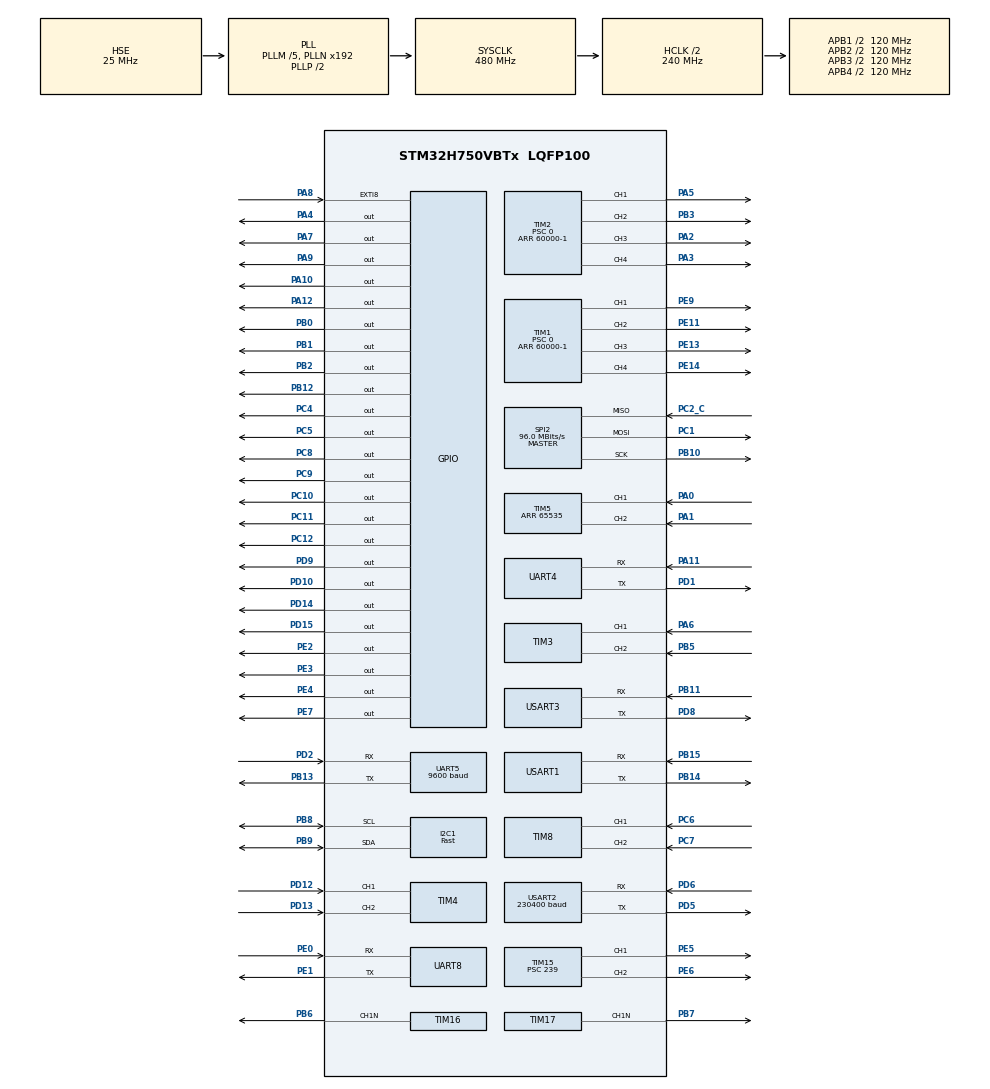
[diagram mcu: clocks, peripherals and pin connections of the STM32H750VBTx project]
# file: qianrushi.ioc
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CORTEX_M7.default_mode_Activation=1
Dma.Request0=USART3_RX
Dma.Request1=USART3_TX
Dma.Request2=UART4_TX
Dma.Request3=USART2_RX
Dma.Request4=UART8_RX
Dma.UART4_TX.2.Direction=DMA_MEMORY_TO_PERIPH
Dma.UART4_TX.2.EventEnable=DISABLE
Dma.UART4_TX.2.FIFOMode=DMA_FIFOMODE_DISABLE
Dma.UART4_TX.2.Instance=DMA1_Stream2
Dma.UART4_TX.2.MemDataAlignment=DMA_MDATAALIGN_BYTE
Dma.UART4_TX.2.MemInc=DMA_MINC_ENABLE
Dma.UART4_TX.2.Mode=DMA_NORMAL
Dma.UART4_TX.2.PeriphDataAlignment=DMA_PDATAALIGN_BYTE
Dma.UART4_TX.2.PeriphInc=DMA_PINC_DISABLE
Dma.UART4_TX.2.Polarity=HAL_DMAMUX_REQ_GEN_RISING
Dma.UART4_TX.2.Priority=DMA_PRIORITY_MEDIUM
Dma.UART4_TX.2.RequestNumber=1
Dma.UART4_TX.2.SignalID=NONE
Dma.UART4_TX.2.SyncEnable=DISABLE
Dma.UART4_TX.2.SyncPolarity=HAL_DMAMUX_SYNC_NO_EVENT
Dma.UART4_TX.2.SyncRequestNumber=1
Dma.UART4_TX.2.SyncSignalID=NONE
Dma.UART8_RX.4.Direction=DMA_PERIPH_TO_MEMORY
Dma.UART8_RX.4.EventEnable=DISABLE
Dma.UART8_RX.4.FIFOMode=DMA_FIFOMODE_DISABLE
Dma.UART8_RX.4.Instance=DMA1_Stream0
Dma.UART8_RX.4.MemDataAlignment=DMA_MDATAALIGN_BYTE
Dma.UART8_RX.4.MemInc=DMA_MINC_ENABLE
Dma.UART8_RX.4.Mode=DMA_CIRCULAR
Dma.UART8_RX.4.PeriphDataAlignment=DMA_PDATAALIGN_BYTE
Dma.UART8_RX.4.PeriphInc=DMA_PINC_DISABLE
Dma.UART8_RX.4.Polarity=HAL_DMAMUX_REQ_GEN_RISING
Dma.UART8_RX.4.Priority=DMA_PRIORITY_LOW
Dma.UART8_RX.4.RequestNumber=1
Dma.UART8_RX.4.SignalID=NONE
Dma.UART8_RX.4.SyncEnable=DISABLE
Dma.UART8_RX.4.SyncPolarity=HAL_DMAMUX_SYNC_NO_EVENT
Dma.UART8_RX.4.SyncRequestNumber=1
Dma.UART8_RX.4.SyncSignalID=NONE
Dma.USART2_RX.3.Direction=DMA_PERIPH_TO_MEMORY
Dma.USART2_RX.3.EventEnable=DISABLE
Dma.USART2_RX.3.FIFOMode=DMA_FIFOMODE_DISABLE
Dma.USART2_RX.3.Instance=DMA1_Stream3
Dma.USART2_RX.3.MemDataAlignment=DMA_MDATAALIGN_BYTE
Dma.USART2_RX.3.MemInc=DMA_MINC_ENABLE
Dma.USART2_RX.3.Mode=DMA_CIRCULAR
Dma.USART2_RX.3.PeriphDataAlignment=DMA_PDATAALIGN_BYTE
Dma.USART2_RX.3.PeriphInc=DMA_PINC_DISABLE
Dma.USART2_RX.3.Polarity=HAL_DMAMUX_REQ_GEN_RISING
Dma.USART2_RX.3.Priority=DMA_PRIORITY_LOW
Dma.USART2_RX.3.RequestNumber=1
Dma.USART2_RX.3.SignalID=NONE
Dma.USART2_RX.3.SyncEnable=DISABLE
Dma.USART2_RX.3.SyncPolarity=HAL_DMAMUX_SYNC_NO_EVENT
Dma.USART2_RX.3.SyncRequestNumber=1
Dma.USART2_RX.3.SyncSignalID=NONE
Dma.USART3_RX.0.Direction=DMA_PERIPH_TO_MEMORY
Dma.USART3_RX.0.EventEnable=DISABLE
Dma.USART3_RX.0.FIFOMode=DMA_FIFOMODE_DISABLE
Dma.USART3_RX.0.Instance=DMA1_Stream4
Dma.USART3_RX.0.MemDataAlignment=DMA_MDATAALIGN_BYTE
Dma.USART3_RX.0.MemInc=DMA_MINC_ENABLE
Dma.USART3_RX.0.Mode=DMA_CIRCULAR
Dma.USART3_RX.0.PeriphDataAlignment=DMA_PDATAALIGN_BYTE
Dma.USART3_RX.0.PeriphInc=DMA_PINC_DISABLE
Dma.USART3_RX.0.Polarity=HAL_DMAMUX_REQ_GEN_RISING
Dma.USART3_RX.0.Priority=DMA_PRIORITY_LOW
Dma.USART3_RX.0.RequestNumber=1
Dma.USART3_RX.0.SignalID=NONE
Dma.USART3_RX.0.SyncEnable=DISABLE
Dma.USART3_RX.0.SyncPolarity=HAL_DMAMUX_SYNC_NO_EVENT
Dma.USART3_RX.0.SyncRequestNumber=1
Dma.USART3_RX.0.SyncSignalID=NONE
Dma.USART3_TX.1.Direction=DMA_MEMORY_TO_PERIPH
Dma.USART3_TX.1.EventEnable=DISABLE
Dma.USART3_TX.1.FIFOMode=DMA_FIFOMODE_DISABLE
Dma.USART3_TX.1.Instance=DMA1_Stream5
Dma.USART3_TX.1.MemDataAlignment=DMA_MDATAALIGN_BYTE
Dma.USART3_TX.1.MemInc=DMA_MINC_ENABLE
Dma.USART3_TX.1.Mode=DMA_NORMAL
Dma.USART3_TX.1.PeriphDataAlignment=DMA_PDATAALIGN_BYTE
Dma.USART3_TX.1.PeriphInc=DMA_PINC_DISABLE
Dma.USART3_TX.1.Polarity=HAL_DMAMUX_REQ_GEN_RISING
Dma.USART3_TX.1.Priority=DMA_PRIORITY_LOW
Dma.USART3_TX.1.RequestNumber=1
Dma.USART3_TX.1.SignalID=NONE
Dma.USART3_TX.1.SyncEnable=DISABLE
Dma.USART3_TX.1.SyncPolarity=HAL_DMAMUX_SYNC_NO_EVENT
Dma.USART3_TX.1.SyncRequestNumber=1
Dma.USART3_TX.1.SyncSignalID=NONE
FREERTOS.BinarySemaphores01=Sem_BtRx,Dynamic,NULL,Available;Sem_SensorRx,Dynamic,NULL,Available
FREERTOS.Mutexes01=Mutex_Stepper,Dynamic,NULL,Available
FREERTOS.Queues01=ChassisQueue,4,12,1,Dynamic,NULL,NULL;StepperQueue,4,4,1,Dynamic,NULL,NULL
FREERTOS.Tasks01=CommTask,32,512,StartCommTask,Default,NULL,Dynamic,NULL,NULL;ChassisTask,40,256,StartChassisTask,Default,NULL,Dynamic,NULL,NULL;StepperTask,40,256,StartStepperTask,Default,NULL,Dynamic,NULL,NULL;AutoClimbTask,16,512,StartAutoClimbTask,Default,NULL,Dynamic,NULL,NULL;SensorTask,16,512,StartSensorTask,Default,NULL,Dynamic,NULL,NULL
I2C1.I2C_Speed_Mode=I2C_Fast
I2C1.Timing=0x00B03FDB
Mcu.Family=STM32H7
Mcu.Name=STM32H750VBTx
Mcu.Package=LQFP100
NVIC.DMA1_Stream0_IRQn=true\:5\:0\:false\:false\:true\:true\:false\:true\:true
NVIC.DMA1_Stream2_IRQn=true\:5\:0\:false\:false\:true\:true\:false\:true\:true
NVIC.DMA1_Stream3_IRQn=true\:5\:0\:false\:false\:true\:true\:false\:true\:true
NVIC.DMA1_Stream4_IRQn=true\:5\:0\:false\:false\:true\:true\:false\:true\:true
NVIC.DMA1_Stream5_IRQn=true\:5\:0\:true\:false\:true\:false\:false\:true\:true
NVIC.EXTI9_5_IRQn=true\:5\:0\:false\:false\:true\:true\:true\:true\:true
NVIC.PriorityGroup=NVIC_PRIORITYGROUP_4
NVIC.TIM6_DAC_IRQn=true\:5\:0\:false\:false\:true\:true\:true\:true\:true
NVIC.TIM7_IRQn=true\:15\:0\:true\:false\:true\:false\:false\:true\:true
NVIC.TimeBase=TIM7_IRQn
NVIC.TimeBaseIP=TIM7
NVIC.UART4_IRQn=true\:5\:0\:false\:false\:true\:true\:true\:true\:true
NVIC.UART5_IRQn=true\:5\:0\:false\:false\:true\:true\:true\:true\:true
NVIC.UART8_IRQn=true\:5\:0\:false\:false\:true\:true\:true\:true\:true
NVIC.USART2_IRQn=true\:5\:0\:false\:false\:true\:true\:true\:true\:true
NVIC.USART3_IRQn=true\:5\:0\:false\:false\:true\:true\:true\:true\:true
PA0.Signal=S_TIM5_CH1
PA1.Signal=S_TIM5_CH2
PA10.Signal=GPIO_Output
PA11.Mode=Asynchronous
PA11.Signal=UART4_RX
PA12.Signal=GPIO_Output
PA13\ (JTMS/SWDIO).Mode=Serial_Wire
PA13\ (JTMS/SWDIO).Signal=DEBUG_JTMS-SWDIO
PA14\ (JTCK/SWCLK).Mode=Serial_Wire
PA14\ (JTCK/SWCLK).Signal=DEBUG_JTCK-SWCLK
PA2.Signal=S_TIM2_CH3
PA3.Signal=S_TIM2_CH4
PA4.Signal=GPIO_Output
PA5.Signal=S_TIM2_CH1_ETR
PA6.Signal=S_TIM3_CH1
PA7.Signal=GPIO_Output
PA8.GPIO_ModeDefaultEXTI=GPIO_MODE_IT_RISING
PA8.Signal=GPXTI8
PA9.Signal=GPIO_Output
PB0.Signal=GPIO_Output
PB1.Signal=GPIO_Output
PB10.Mode=Full_Duplex_Master
PB10.Signal=SPI2_SCK
PB11.Mode=Asynchronous
PB11.Signal=USART3_RX
PB12.PinState=GPIO_PIN_SET
PB12.Signal=GPIO_Output
PB13.Mode=Asynchronous
PB13.Signal=UART5_TX
PB14.Mode=Asynchronous
PB14.Signal=USART1_TX
PB15.Mode=Asynchronous
PB15.Signal=USART1_RX
PB2.Signal=GPIO_Output
PB3\ (JTDO/TRACESWO).Signal=S_TIM2_CH2
PB5.Signal=S_TIM3_CH2
PB6.Mode=PWM Generation1 CH1N
PB6.Signal=TIM16_CH1N
PB7.Mode=PWM Generation1 CH1N
PB7.Signal=TIM17_CH1N
PB8.GPIO_Pu=GPIO_PULLUP
PB8.Mode=I2C
PB8.Signal=I2C1_SCL
PB9.GPIO_Pu=GPIO_PULLUP
PB9.Mode=I2C
PB9.Signal=I2C1_SDA
PC1.Mode=Full_Duplex_Master
PC1.Signal=SPI2_MOSI
PC10.Signal=GPIO_Output
PC11.Signal=GPIO_Output
PC12.Signal=GPIO_Output
PC2_C.Mode=Full_Duplex_Master
PC2_C.Signal=SPI2_MISO
PC4.Signal=GPIO_Output
PC5.Signal=GPIO_Output
PC6.Signal=S_TIM8_CH1
PC7.Signal=S_TIM8_CH2
PC8.Signal=GPIO_Output
PC9.Signal=GPIO_Output
PD1.Mode=Asynchronous
PD1.Signal=UART4_TX
PD10.GPIO_PuPd=GPIO_PULLUP
PD10.PinState=GPIO_PIN_SET
PD10.Signal=GPIO_Output
PD12.Signal=S_TIM4_CH1
PD13.Signal=S_TIM4_CH2
PD14.Signal=GPIO_Output
PD15.Signal=GPIO_Output
PD2.Mode=Asynchronous
PD2.Signal=UART5_RX
PD5.Mode=Asynchronous
PD5.Signal=USART2_TX
PD6.Mode=Asynchronous
PD6.Signal=USART2_RX
PD8.Mode=Asynchronous
PD8.Signal=USART3_TX
PD9.Signal=GPIO_Output
PE0.Mode=Asynchronous
PE0.Signal=UART8_RX
PE1.Mode=Asynchronous
PE1.Signal=UART8_TX
PE11.Signal=S_TIM1_CH2
PE13.Signal=S_TIM1_CH3
PE14.Signal=S_TIM1_CH4
PE2.Signal=GPIO_Output
PE3.Signal=GPIO_Output
PE4.GPIO_PuPd=GPIO_PULLDOWN
PE4.Signal=GPIO_Output
PE5.Signal=S_TIM15_CH1
PE6.Signal=S_TIM15_CH2
PE7.Signal=GPIO_Output
PE9.Signal=S_TIM1_CH1
PH0-OSC_IN\ (PH0).Mode=HSE-External-Oscillator
PH0-OSC_IN\ (PH0).Signal=RCC_OSC_IN
PH1-OSC_OUT\ (PH1).Mode=HSE-External-Oscillator
PH1-OSC_OUT\ (PH1).Signal=RCC_OSC_OUT
ProjectManager.HeapSize=0x200
ProjectManager.StackSize=0x400
ProjectManager.TargetToolchain=MDK-ARM V5.32
RCC.ADCFreq_Value=50390625
RCC.APB1Freq_Value=120000000
RCC.APB2Freq_Value=120000000
RCC.APB3Freq_Value=120000000
RCC.APB4Freq_Value=120000000
RCC.CortexFreq_Value=480000000
RCC.D1PPRE=RCC_APB3_DIV2
RCC.D2PPRE1=RCC_APB1_DIV2
RCC.D2PPRE2=RCC_APB2_DIV2
RCC.D3PPRE=RCC_APB4_DIV2
RCC.DIVM1=5
RCC.DIVN1=192
RCC.DIVQ1=5
RCC.HCLKFreq_Value=240000000
RCC.HPRE=RCC_HCLK_DIV2
RCC.HSE_VALUE=25000000
RCC.PLL2FRACN=0
RCC.PLL3FRACN=0
RCC.PLLFRACN=0
RCC.PLLSourceVirtual=RCC_PLLSOURCE_HSE
RCC.SYSCLKFreq_VALUE=480000000
RCC.SYSCLKSource=RCC_SYSCLKSOURCE_PLLCLK
RCC.USBFreq_Value=192000000
SH.S_TIM15_CH1.0=TIM15_CH1,PWM Generation1 CH1
SH.S_TIM15_CH2.0=TIM15_CH2,PWM Generation2 CH2
SH.S_TIM1_CH1.0=TIM1_CH1,PWM Generation1 CH1
SH.S_TIM1_CH2.0=TIM1_CH2,PWM Generation2 CH2
SH.S_TIM1_CH3.0=TIM1_CH3,PWM Generation3 CH3
SH.S_TIM1_CH4.0=TIM1_CH4,PWM Generation4 CH4
SH.S_TIM2_CH1_ETR.0=TIM2_CH1,PWM Generation1 CH1
SH.S_TIM2_CH2.0=TIM2_CH2,PWM Generation2 CH2
SH.S_TIM2_CH3.0=TIM2_CH3,PWM Generation3 CH3
SH.S_TIM2_CH4.0=TIM2_CH4,PWM Generation4 CH4
SH.S_TIM3_CH1.0=TIM3_CH1,Encoder_Interface
SH.S_TIM3_CH2.0=TIM3_CH2,Encoder_Interface
SH.S_TIM4_CH1.0=TIM4_CH1,Encoder_Interface
SH.S_TIM4_CH2.0=TIM4_CH2,Encoder_Interface
SH.S_TIM5_CH1.0=TIM5_CH1,Encoder_Interface
SH.S_TIM5_CH2.0=TIM5_CH2,Encoder_Interface
SH.S_TIM8_CH1.0=TIM8_CH1,Encoder_Interface
SH.S_TIM8_CH2.0=TIM8_CH2,Encoder_Interface
SPI2.CalculateBaudRate=96.0 MBits/s
SPI2.Direction=SPI_DIRECTION_2LINES
SPI2.Mode=SPI_MODE_MASTER
SPI2.VirtualType=VM_MASTER
TIM1.Channel-PWM\ Generation1\ CH1=TIM_CHANNEL_1
TIM1.Channel-PWM\ Generation2\ CH2=TIM_CHANNEL_2
TIM1.Channel-PWM\ Generation3\ CH3=TIM_CHANNEL_3
TIM1.Channel-PWM\ Generation4\ CH4=TIM_CHANNEL_4
TIM1.Period=60000-1
TIM1.Prescaler=0
TIM15.AutoReloadPreload=TIM_AUTORELOAD_PRELOAD_ENABLE
TIM15.Channel-PWM\ Generation1\ CH1=TIM_CHANNEL_1
TIM15.Channel-PWM\ Generation2\ CH2=TIM_CHANNEL_2
TIM15.Period=20000-1
TIM15.Prescaler=239
TIM16.AutoReloadPreload=TIM_AUTORELOAD_PRELOAD_ENABLE
TIM16.Channel=TIM_CHANNEL_1
TIM16.Period=60000-1
TIM17.AutoReloadPreload=TIM_AUTORELOAD_PRELOAD_ENABLE
TIM17.Channel=TIM_CHANNEL_1
TIM17.Period=60000-1
TIM2.Channel-PWM\ Generation1\ CH1=TIM_CHANNEL_1
TIM2.Channel-PWM\ Generation2\ CH2=TIM_CHANNEL_2
TIM2.Channel-PWM\ Generation3\ CH3=TIM_CHANNEL_3
TIM2.Channel-PWM\ Generation4\ CH4=TIM_CHANNEL_4
TIM2.Period=60000-1
TIM2.Prescaler=0
TIM5.Period=65535
TIM6.Period=10000-1
TIM6.Prescaler=240-1
UART5.BaudRate=9600
USART1.VirtualMode-Asynchronous=VM_ASYNC
USART2.BaudRate=230400
USART2.VirtualMode-Asynchronous=VM_ASYNC
USART3.VirtualMode-Asynchronous=VM_ASYNC
VP_FREERTOS_VS_CMSIS_V2.Mode=CMSIS_V2
VP_MEMORYMAP_VS_MEMORYMAP.Mode=CurAppReg
VP_SYS_VS_tim7.Mode=TIM7
VP_TIM15_VS_ClockSourceINT.Mode=Internal
VP_TIM16_VS_ClockSourceINT.Mode=Enable_Timer
VP_TIM17_VS_ClockSourceINT.Mode=Enable_Timer
VP_TIM1_VS_ClockSourceINT.Mode=Internal
VP_TIM6_VS_ClockSourceINT.Mode=Enable_Timer
board=custom

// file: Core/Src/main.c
/* USER CODE BEGIN Header */
/**
  ******************************************************************************
  * @file           : main.c
  * @brief          : Main program body
  ******************************************************************************
  * @attention
  *
  * Copyright (c) 2026 STMicroelectronics.
  * All rights reserved.
  *
  * This software is licensed under terms that can be found in the LICENSE file
  * in the root directory of this software component.
  * If no LICENSE file comes with this software, it is provided AS-IS.
  *
  ******************************************************************************
  */
/* USER CODE END Header */
#include "main.h"
#include "FreeRTOS.h"
#include "cmsis_os2.h"
#include "dma.h"
#include "i2c.h"
#include "spi.h"
#include "tim.h"
#include "usart.h"
#include "gpio.h"

/* USER CODE BEGIN Includes */
#include <string.h>
#include "stdio.h"
#include "debug_log.h"
#include <stdarg.h>
#include "pid.h"
#include "Emm_V5.h"
#include <stdbool.h>
#include <lidar.h>
#include <Robot_control.h>
#include <ultrasonic_uart.h>
#include <stdlib.h>
#include "brushless_esc.h"
#include "water_pump.h"

/* USER CODE END Includes */

/* USER CODE BEGIN PV */

volatile int32_t step_motor_pos = 0; // 必须加 volatile！
volatile uint32_t motor_update_count = 0;

/* USER CODE END PV */

void SystemClock_Config(void);
static void MPU_Config(void);
void MX_FREERTOS_Init(void);
/* USER CODE BEGIN PFP */
// 定义接收缓冲区和标志
uint8_t imu_rx_byte; // 专门用来接收 IMU 数据的单字节变量
uint8_t rx_buffer[11]; // 接收11字节的一帧数据
uint8_t rx_index = 0;
uint8_t data_ready = 0; // 一帧数据接收完成标志
uint8_t aRxBuffer;

// ================= 新增：蓝牙与模式控制变量 =================
uint8_t bt_rx_buf[64];           // 蓝牙接收缓存
uint32_t last_bt_heartbeat = 0;  // 蓝牙防飞车“看门狗”时间戳
int robot_mode = 0;              // 机器人当前模式：0=手动摇杆， 1=全自动爬楼

// 启动第一次中断接收
//步进电机变量
#define CMD_LEN 128          // 定义串口接收缓冲区长度
uint8_t rxCmd[CMD_LEN] __attribute__((aligned(32))) = {0}; // 🌟 修复：H7必须加32字节对齐！
bool rxFrameFlag = false;     // 接收完成标志位
//雷达变量
extern uint8_t Lidar_RxBuf[640];
extern uint16_t Lidar_WriteIndex;
extern uint16_t Lidar_ReadIndex;
extern void Lidar_ParseSingleFrame(uint8_t *frame);
//编码器数据
int16_t pulse_motor1 = 0; // 对应 TIM3
int16_t pulse_motor2 = 0; // 对应 TIM4
int16_t pulse_motor3 = 0; // 对应 TIM5
int16_t pulse_motor4 = 0; // 对应 TIM8
// 用于存储解析后的目标数据
uint16_t obj_x, obj_y, obj_w, obj_h;

/* USER CODE END PFP */

int main(void)
{

  /* MPU Configuration--------------------------------------------------------*/
  MPU_Config();

  /* MCU Configuration--------------------------------------------------------*/

  /* Reset of all peripherals, Initializes the Flash interface and the Systick. */
  HAL_Init();

  /* Configure the system clock */
  SystemClock_Config();

  /* Initialize all configured peripherals */
  MX_GPIO_Init();
  MX_DMA_Init();
  MX_SPI2_Init();
  MX_TIM1_Init();
  MX_TIM3_Init();
  MX_TIM4_Init();
  MX_TIM8_Init();
  MX_TIM5_Init();
  MX_TIM2_Init();
  MX_USART2_UART_Init();
  MX_USART1_UART_Init();
  MX_I2C1_Init();
  MX_USART3_UART_Init();
  MX_UART4_Init();
  MX_TIM6_Init();
  MX_UART5_Init();
  MX_UART8_Init();
  MX_TIM15_Init();
  MX_TIM16_Init();
  MX_TIM17_Init();
  /* USER CODE BEGIN 2 */

		/* Safety first: request an immediate stop, then let the stepper drive boot. */
		Emm_V5_Stop_Now(1, false);
		HAL_Delay(1000);

		// =======================================================
		// 🌟 步进电机终极安全初始化序列 (闭环防暴走版) 🌟
		// =======================================================

		// 0. 强行刹车，并关闭它的自动回传（防止脏数据轰炸单片机串口）
		printf("🛑 正在强制刹停步进电机...\r\n");
		Emm_V5_Auto_Return_Sys_Params_Timed(1, S_CPOS, 0); // 发送 0 强行让它闭嘴
		HAL_Delay(100);
		Emm_V5_Stop_Now(1, false);
		HAL_Delay(300); // 必须等它物理上完全停稳

		// 1. 🌟 终极物理清零法：【绝对不能脱机！】
		printf("🔄 正在执行闭环电机锁轴清零...\r\n");

		// 🚨 删掉了脱机指令，让它保持锁轴状态！
		Emm_V5_Reset_CurPos_To_Zero(1); // 此时电机有劲儿，清零指令 100% 写入成功！
		HAL_Delay(800); // 必须给足 800ms 的死寂时间让芯片擦写 Flash！

		// 2. 单片机侧强制失忆！
		extern volatile int32_t step_motor_pos;
		step_motor_pos = 0;
		motor_update_count = 0;

		// 3. 彻底清空单片机串口的所有垃圾标志位和缓存区
		HAL_UART_AbortReceive(&huart3);
		__HAL_UART_CLEAR_OREFLAG(&huart3);
		__HAL_UART_CLEAR_NEFLAG(&huart3);
		__HAL_UART_CLEAR_FEFLAG(&huart3);

		extern uint8_t rxCmd[];
		memset(rxCmd, 0, 128); // 暴力清空接收数组，斩草除根

		// 4. 重新竖起耳朵
		if (HAL_UARTEx_ReceiveToIdle_IT(&huart3, rxCmd, 128) != HAL_OK) {
				printf("🚨 USART3 监听开启失败，错误码: %d\n", huart3.ErrorCode);
		} else {
				printf("✅ USART3 监听开启成功，当前物理与软件坐标已绝对归零！\r\n");
		}

		// 5. 此时张大头已经彻底清醒并且归零，下达狂发数据指令！
		Emm_V5_Auto_Return_Sys_Params_Timed(1, S_CPOS, 20);
		HAL_Delay(100);
		// =======================================================

				printf("\r\n\r\n⏳ 系统上电，等待外设模块开机初始化...\r\n");

        // 1. 🌟 核心调换：必须先“竖起耳朵”，再去发指令！
        // 提前打开监听，把蓝牙开机时的碎语和 AT 指令的回复全部安全吃掉！
        HAL_UART_AbortReceive(&huart4);
        __HAL_UART_CLEAR_OREFLAG(&huart4);
        if (HAL_UARTEx_ReceiveToIdle_IT(&huart4, bt_rx_buf, 64) != HAL_OK) {
            printf("🚨 蓝牙 UART4 监听开启失败！\r\n");
        } else {
            printf("✅ 蓝牙 UART4 监听开启成功！\r\n");
        }

				// 2. 耳朵准备好之后，发送蓝牙断开连接的 AT 指令
        char *disconnect_cmd = "AT+DISC\r\n";
        HAL_UART_Transmit(&huart4, (uint8_t *)disconnect_cmd, strlen(disconnect_cmd), 100);

        // 3. 等待断开动作处理完成
        HAL_Delay(500);

		HAL_TIM_PWM_Init(&htim1);
		HAL_TIM_PWM_Init(&htim2);
    // 开启 UART8 的中断接收（每收到 1 个字节进一次中断）
   // 开启 UART8 的中断接收前，先清空可能因为延时产生的 ORE 垃圾标志！
    HAL_UART_AbortReceive(&huart8);
    __HAL_UART_CLEAR_OREFLAG(&huart8);
    __HAL_UART_CLEAR_NEFLAG(&huart8);
    __HAL_UART_CLEAR_FEFLAG(&huart8);
    HAL_UART_Receive_IT(&huart8, &imu_rx_byte, 1);
		HAL_TIM_PWM_Start(&htim1, TIM_CHANNEL_1); // M1: PE9
		HAL_TIM_PWM_Start(&htim1, TIM_CHANNEL_2); // M1: PE11
		HAL_TIM_PWM_Start(&htim1, TIM_CHANNEL_3); // M1: PE13
		HAL_TIM_PWM_Start(&htim1, TIM_CHANNEL_4); // M2: PE14
		HAL_TIM_PWM_Start(&htim2, TIM_CHANNEL_1); // M2: PA5
		HAL_TIM_PWM_Start(&htim2, TIM_CHANNEL_2); // M2: PB3
		HAL_TIM_PWM_Start(&htim2, TIM_CHANNEL_3); // M2: PA2
		HAL_TIM_PWM_Start(&htim2, TIM_CHANNEL_4); // M2: PA3
		HAL_TIMEx_PWMN_Start(&htim16, TIM_CHANNEL_1);    // 启动 TIM16 互补通道 1N (注意有 Ex 和 N)
    HAL_TIMEx_PWMN_Start(&htim17, TIM_CHANNEL_1);    // 启动 TIM17 互补通道 1N (注意有 Ex 和 N)
		HAL_TIM_Encoder_Start(&htim3, TIM_CHANNEL_ALL);
    HAL_TIM_Encoder_Start(&htim4, TIM_CHANNEL_ALL);
		HAL_TIM_Encoder_Start(&htim5, TIM_CHANNEL_ALL);
		HAL_TIM_Encoder_Start(&htim8, TIM_CHANNEL_ALL);

    // 2. 【新增】以中断模式启动 TIM6，秒表开始计时！
    HAL_TIM_Base_Start_IT(&htim6);

		// 👇 补充 1：超声波初始化
		Ultrasonic_UART_Init();

		/* USER CODE BEGIN 2 */

  // =======================================================
  // 🌟 强行配置 IMU 为 6轴模式 (屏蔽地磁场畸变干扰)
  // =======================================================
  printf("🔄 正在通过代码强制配置 IMU 模块为 6轴模式...\r\n");

  // 依据官方协议组装的 16进制指令：切换为 6 轴算法
  uint8_t imu_config_cmd[] = {0x7E, 0x23, 0x07, 0x61, 0x06, 0x5F, 0x6E};

  // 通过 UART8 发给 IMU 模块
  HAL_UART_Transmit(&huart8, imu_config_cmd, sizeof(imu_config_cmd), 100);

  // 给模块 200ms 的算法切换和重启时间
  HAL_Delay(200);

  printf("✅ IMU 6轴配置指令发送完毕！\r\n");

		if (WaterPump_Init() != HAL_OK) {             // PE6 / TIM15_CH2, PD10 low
			Error_Handler();
		}
		if (WaterPump_Start(20U) != HAL_OK) {         // Default pump speed: 20% duty
			Error_Handler();
		}
		if (Brushless_ESC_Init() != HAL_OK) {         // PE5 / TIM15_CH1, PD10 low
			Error_Handler();
		}

  /* USER CODE END 2 */

  /* Init scheduler */
  osKernelInitialize();  /* Call init function for freertos objects (in cmsis_os2.c) */
  MX_FREERTOS_Init();

  /* Start scheduler */
  osKernelStart();

  /* We should never get here as control is now taken by the scheduler */

  /* Infinite loop */
  while (1)
  {

	}
}

void SystemClock_Config(void)
{
  RCC_OscInitTypeDef RCC_OscInitStruct = {0};
  RCC_ClkInitTypeDef RCC_ClkInitStruct = {0};

  /** Supply configuration update enable
  */
  HAL_PWREx_ConfigSupply(PWR_LDO_SUPPLY);

  /** Configure the main internal regulator output voltage
  */
  __HAL_PWR_VOLTAGESCALING_CONFIG(PWR_REGULATOR_VOLTAGE_SCALE0);

  while(!__HAL_PWR_GET_FLAG(PWR_FLAG_VOSRDY)) {}

  /** Initializes the RCC Oscillators according to the specified parameters
  * in the RCC_OscInitTypeDef structure.
  */
  RCC_OscInitStruct.OscillatorType = RCC_OSCILLATORTYPE_HSE;
  RCC_OscInitStruct.HSEState = RCC_HSE_ON;
  RCC_OscInitStruct.PLL.PLLState = RCC_PLL_ON;
  RCC_OscInitStruct.PLL.PLLSource = RCC_PLLSOURCE_HSE;
  RCC_OscInitStruct.PLL.PLLM = 5;
  RCC_OscInitStruct.PLL.PLLN = 192;
  RCC_OscInitStruct.PLL.PLLP = 2;
  RCC_OscInitStruct.PLL.PLLQ = 5;
  RCC_OscInitStruct.PLL.PLLR = 2;
  RCC_OscInitStruct.PLL.PLLRGE = RCC_PLL1VCIRANGE_2;
  RCC_OscInitStruct.PLL.PLLVCOSEL = RCC_PLL1VCOWIDE;
  RCC_OscInitStruct.PLL.PLLFRACN = 0;
  if (HAL_RCC_OscConfig(&RCC_OscInitStruct) != HAL_OK)
  {
    Error_Handler();
  }

  /** Initializes the CPU, AHB and APB buses clocks
  */
  RCC_ClkInitStruct.ClockType = RCC_CLOCKTYPE_HCLK|RCC_CLOCKTYPE_SYSCLK
                              |RCC_CLOCKTYPE_PCLK1|RCC_CLOCKTYPE_PCLK2
                              |RCC_CLOCKTYPE_D3PCLK1|RCC_CLOCKTYPE_D1PCLK1;
  RCC_ClkInitStruct.SYSCLKSource = RCC_SYSCLKSOURCE_PLLCLK;
  RCC_ClkInitStruct.SYSCLKDivider = RCC_SYSCLK_DIV1;
  RCC_ClkInitStruct.AHBCLKDivider = RCC_HCLK_DIV2;
  RCC_ClkInitStruct.APB3CLKDivider = RCC_APB3_DIV2;
  RCC_ClkInitStruct.APB1CLKDivider = RCC_APB1_DIV2;
  RCC_ClkInitStruct.APB2CLKDivider = RCC_APB2_DIV2;
  RCC_ClkInitStruct.APB4CLKDivider = RCC_APB4_DIV2;

  if (HAL_RCC_ClockConfig(&RCC_ClkInitStruct, FLASH_LATENCY_4) != HAL_OK)
  {
    Error_Handler();
  }
}

/* USER CODE BEGIN 4 */

extern osMutexId_t Mutex_DebugHandle;
static char debug_tx_buffer[512];

int Debug_Printf(const char *format, ...)
{
    va_list args;
    int formatted_length;
    uint16_t transmit_length;
    uint8_t mutex_locked = 0U;
    osKernelState_t kernel_state;

    /* Logging from an interrupt would make an RTOS mutex illegal. */
    if ((format == NULL) || (__get_IPSR() != 0U))
    {
        return 0;
    }

    kernel_state = osKernelGetState();
    if (kernel_state == osKernelRunning)
    {
        if ((Mutex_DebugHandle == NULL) ||
            (osMutexAcquire(Mutex_DebugHandle, 100U) != osOK))
        {
            return 0;
        }
        mutex_locked = 1U;
    }

    va_start(args, format);
    formatted_length = vsnprintf(debug_tx_buffer,
                                 sizeof(debug_tx_buffer),
                                 format,
                                 args);
    va_end(args);

    if (formatted_length < 0)
    {
        transmit_length = 0U;
    }
    else if ((uint32_t)formatted_length >= sizeof(debug_tx_buffer))
    {
        transmit_length = (uint16_t)(sizeof(debug_tx_buffer) - 1U);
    }
    else
    {
        transmit_length = (uint16_t)formatted_length;
    }

    if (transmit_length > 0U)
    {
        (void)HAL_UART_Transmit(&huart1,
                               (uint8_t *)debug_tx_buffer,
                               transmit_length,
                               100U);
    }

    if (mutex_locked != 0U)
    {
        (void)osMutexRelease(Mutex_DebugHandle);
    }

    return formatted_length;
}

int fputc(int ch, FILE *f)
{
    uint8_t c = (uint8_t)ch;
    uint8_t retry;

    for (retry = 0U; retry < 5U; retry++)
    {
        if (HAL_UART_Transmit(&huart1, &c, 1, 20U) == HAL_OK)
        {
            break;
        }

        if (osKernelGetState() == osKernelRunning)
        {
            osDelay(1U);
        }
        else
        {
            HAL_Delay(1U);
        }
    }
    return ch;
}
void HAL_UART_RxCpltCallback(UART_HandleTypeDef *huart)
{
    if(huart->Instance == UART8)
    {

        // 1. 调用驱动函数，把收到的这个字节存进环形缓冲区
        extern void IMU_UART_RxByte_Callback(uint8_t data);
        IMU_UART_RxByte_Callback(imu_rx_byte);

        // 2. 重新开启中断，等待下一个字节
        HAL_UART_Receive_IT(&huart8, &imu_rx_byte, 1);
    }
}
void HAL_UARTEx_RxEventCallback(UART_HandleTypeDef *huart, uint16_t Size)
{
    if(huart->Instance == USART3)
    {
        extern uint8_t rxCmd[];
        extern volatile int32_t step_motor_pos;
        extern volatile uint32_t motor_update_count;

        // 🌟 核心修复 1：完整数据包包含方向位，至少需要 8 个字节！
        if (Size >= 8)
        {
            for(int i = 0; i <= Size - 8; i++)
            {
                if (rxCmd[i] == 0x01 && rxCmd[i+1] == 0x36)
                {
                    // 🌟 核心修复 2：严格遵守张大头通讯协议！
                    uint8_t dir = rxCmd[i+2]; // 第3字节是方向：0为正(上)，1为负(下)

                    // 后面的4个字节才是真正的绝对位置！
                    uint32_t abs_pos = ((uint32_t)rxCmd[i+3] << 24) |
                                       ((uint32_t)rxCmd[i+4] << 16) |
                                       ((uint32_t)rxCmd[i+5] << 8)  |
                                       (uint32_t)rxCmd[i+6];

                    // 结合方向，算出带符号的真实坐标 (往下走就是负数)
                    int32_t new_pos = (dir == 0) ? (int32_t)abs_pos : -(int32_t)abs_pos;

                    // 🌟 核心修复 3：放宽防瞬移阈值到 50000！
                    // 因为步进电机满速时 20ms 能走几千个脉冲，原来的 2000 门槛太严苛会被误杀。
                    if (abs(new_pos - step_motor_pos) < 500000 || step_motor_pos == 0 || new_pos == 0) {
                        step_motor_pos = new_pos;
                        motor_update_count++;
                    }
                    break; // 找到一帧合法的就跳出 for 循环
                }
            }
        }

        // 重新开启下一次接收
        HAL_UARTEx_ReceiveToIdle_IT(&huart3, rxCmd, 128);
    }

		// === 2. 激光雷达 (UART2) -> 敲雷达的门铃 ===
    if(huart->Instance == USART2)
    {
        extern osSemaphoreId_t Sem_SensorRxHandle; // 引入 CubeMX 生成的信号量
        extern uint16_t Lidar_WriteIndex;

        SCB_InvalidateDCache_by_Addr((uint32_t *)Lidar_RxBuf, 640);
        Lidar_WriteIndex = (uint16_t)(Size % 640U);

        // 🌟 核心保命修复：防“中断早产”死机！
        // 必须确保操作系统已经启动、信号量已经被创建（不为空），才能按门铃！
        if ((Sem_SensorRxHandle != NULL) && (osKernelGetState() == osKernelRunning)) {
            osSemaphoreRelease(Sem_SensorRxHandle);
        }

      //  HAL_UARTEx_ReceiveToIdle_DMA(&huart2, Lidar_RxBuf, 640);
    }

		// === 3. 手机蓝牙 (UART4) -> 敲蓝牙的门铃 ===
    if(huart->Instance == UART4)
    {
        extern osSemaphoreId_t Sem_BtRxHandle;

        bt_rx_buf[Size < 64 ? Size : 63] = '\0'; // 安全封尾

        // 🌟 核心保命修复：防“中断早产”死机！
        if (Sem_BtRxHandle != NULL) {
            osSemaphoreRelease(Sem_BtRxHandle);
        }

        HAL_UARTEx_ReceiveToIdle_IT(&huart4, bt_rx_buf, 64); // 重新挂载监听
    }

		// === 4. 超声波 (UART5) ===
    if(huart->Instance == UART5)
    {
        extern uint8_t ultra_rx_buf[];

				// 🌟 临时侦察兵：把超声波发给单片机的第一手原始数据打印出来！
        //printf("🦇 [超声波抓包] 长度:%d 数据: %02X %02X %02X %02X\r\n", Size, ultra_rx_buf[0], ultra_rx_buf[1], ultra_rx_buf[2], ultra_rx_buf[3]);

				// 1. 调用解析函数 (里面只能是纯数学计算，不能有任何 Delay)
        Ultrasonic_Parse_Frame(ultra_rx_buf, Size);

        // 2. 重新开启空闲中断接收
        HAL_UARTEx_ReceiveToIdle_IT(&huart5, ultra_rx_buf, 16);
    }
}

/* USER CODE END 4 */

 /* MPU Configuration */

void MPU_Config(void)
{
  MPU_Region_InitTypeDef MPU_InitStruct = {0};

  /* Disables the MPU */
  HAL_MPU_Disable();

  /** Initializes and configures the Region and the memory to be protected
  */
  MPU_InitStruct.Enable = MPU_REGION_ENABLE;
  MPU_InitStruct.Number = MPU_REGION_NUMBER0;
  MPU_InitStruct.BaseAddress = 0x0;
  MPU_InitStruct.Size = MPU_REGION_SIZE_4GB;
  MPU_InitStruct.SubRegionDisable = 0x87;
  MPU_InitStruct.TypeExtField = MPU_TEX_LEVEL0;
  MPU_InitStruct.AccessPermission = MPU_REGION_NO_ACCESS;
  MPU_InitStruct.DisableExec = MPU_INSTRUCTION_ACCESS_DISABLE;
  MPU_InitStruct.IsShareable = MPU_ACCESS_SHAREABLE;
  MPU_InitStruct.IsCacheable = MPU_ACCESS_NOT_CACHEABLE;
  MPU_InitStruct.IsBufferable = MPU_ACCESS_NOT_BUFFERABLE;

  HAL_MPU_ConfigRegion(&MPU_InitStruct);
  /* Enables the MPU */
  HAL_MPU_Enable(MPU_PRIVILEGED_DEFAULT);

}

void HAL_TIM_PeriodElapsedCallback(TIM_HandleTypeDef *htim)
{
  /* USER CODE BEGIN Callback 0 */
    if (htim->Instance == TIM6)
    {
        // 每 10ms，雷打不动地执行一次底盘闭环控制
        extern void Motor_Update_PID(void);
        Motor_Update_PID();
    }

  /* USER CODE END Callback 0 */
  if (htim->Instance == TIM7)
  {
    HAL_IncTick();
  }
}

void Error_Handler(void)
{
  __disable_irq();
  while (1)
  {
  }
}

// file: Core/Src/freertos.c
/* USER CODE BEGIN Header */
/**
  ******************************************************************************
  * File Name          : freertos.c
  * Description        : Code for freertos applications
  ******************************************************************************
  * @attention
  *
  * Copyright (c) 2026 STMicroelectronics.
  * All rights reserved.
  *
  * This software is licensed under terms that can be found in the LICENSE file
  * in the root directory of this software component.
  * If no LICENSE file comes with this software, it is provided AS-IS.
  *
  ******************************************************************************
  */
/* USER CODE END Header */

#include "FreeRTOS.h"
#include "task.h"
#include "main.h"
#include "FreeRTOS.h"
#include "cmsis_os2.h"

/* USER CODE BEGIN Includes */

#include <string.h>
#include "stdio.h"
#include "debug_log.h"
#include "pid.h"
#include "Emm_V5.h"
#include <stdbool.h>
#include <lidar.h>
#include <Robot_control.h>
#include <ultrasonic_uart.h>
#include <stdlib.h>

extern uint8_t bt_rx_buf[64];
extern volatile int32_t step_motor_pos;
extern uint8_t Lidar_RxBuf[640];
extern uint16_t Lidar_WriteIndex;
extern uint16_t Lidar_ReadIndex;
extern void Lidar_ParseSingleFrame(uint8_t *frame);
extern void Lidar_Init(void);
extern HAL_StatusTypeDef Lidar_RestartDMA(void);
extern HAL_StatusTypeDef Ultrasonic_UART_Restart(void);
extern void STOP_SWEEPER(void);
extern void AutoClimb_Process(void);

// 🌟 为自动爬楼任务引入外部传感器变量和底层函数
extern int left_min;       // 雷达左侧最短距离 (由雷达代码解算)
extern int right_min;      // 雷达右侧最短距离
extern int Ultrasonic_Get_Distance(void); // 获取超声波距离
extern void Motor_Contro2(int m1_speed, int m2_speed, int m3_speed, int m4_speed);
													 // 第二套驱动电机控制

extern volatile uint32_t motor_update_count; // 必须加 extern，告诉任务这个变量在 main.c 里定义了
extern TIM_HandleTypeDef htim15; // 引入 TIM15
// 🌟 定义开启扫地机构的绝招

/* USER CODE END Includes */

/* USER CODE BEGIN PTD */

// 定义底盘队列的包裹格式 (正好 12 字节)
typedef struct {
    int x;
    int y;
    int w;
} ChassisMsg_t;

/* USER CODE BEGIN FunctionPrototypes */
// 🌟 终极安全机制：带容差的极速防滑行刹车
void Safe_Stepper_Stop(void)
{
    extern osMessageQueueId_t StepperQueueHandle;
    int stop_cmd_val = 0;
    int32_t last_pos = step_motor_pos;
    int static_count = 0;

    printf("\r\n🛑 [安全机制] 步进电机紧急刹车...\r\n");

    // 1. 同步清零队列，防止堆积
    osMessageQueuePut(StepperQueueHandle, &stop_cmd_val, 0, 0);

    // 2. 发送刹车指令
    Emm_V5_Stop_Now(1, false);

    while (1)
    {
        // 观察周期从冗长的 50ms 缩短为 30ms
        osDelay(30);

        // 🌟 核心修复：允许 ±10 个脉冲的闭环震荡误差！
        // 闭环电机在锁轴时会轻微抖动，严苛的 == 会导致程序死循环！
        if (abs(step_motor_pos - last_pos) <= 10) {
            static_count++;
            if (static_count >= 2) {
                // 连续 60ms 稳定，立刻认定停稳，绝不拖泥带水
                break;
            }
        } else {
            static_count = 0;
            Emm_V5_Stop_Now(1, false); // 如果真在滑，补发刹车
        }

        last_pos = step_motor_pos;
    }

    // 停稳缓冲时间从 200ms 大幅缩短到 50ms！
    osDelay(50);
}
/* USER CODE END PTD */

/* Definitions for CommTask */
osThreadId_t CommTaskHandle;
const osThreadAttr_t CommTask_attributes = {
  .name = "CommTask",
  .stack_size = 512 * 4,
  .priority = (osPriority_t) osPriorityAboveNormal,
};
/* Definitions for ChassisTask */
osThreadId_t ChassisTaskHandle;
const osThreadAttr_t ChassisTask_attributes = {
  .name = "ChassisTask",
  .stack_size = 256 * 4,
  .priority = (osPriority_t) osPriorityHigh,
};
/* Definitions for StepperTask */
osThreadId_t StepperTaskHandle;
const osThreadAttr_t StepperTask_attributes = {
  .name = "StepperTask",
  .stack_size = 256 * 4,
  .priority = (osPriority_t) osPriorityHigh,
};
/* Definitions for AutoClimbTask */
osThreadId_t AutoClimbTaskHandle;
const osThreadAttr_t AutoClimbTask_attributes = {
  .name = "AutoClimbTask",
  .stack_size = 512 * 4,
  .priority = (osPriority_t) osPriorityBelowNormal,
};
/* Definitions for SensorTask */
osThreadId_t SensorTaskHandle;
const osThreadAttr_t SensorTask_attributes = {
  .name = "SensorTask",
  .stack_size = 512 * 4,
  .priority = (osPriority_t) osPriorityNormal,
};
/* Definitions for ChassisQueue */
osMessageQueueId_t ChassisQueueHandle;
const osMessageQueueAttr_t ChassisQueue_attributes = {
  .name = "ChassisQueue"
};
/* Definitions for StepperQueue */
osMessageQueueId_t StepperQueueHandle;
const osMessageQueueAttr_t StepperQueue_attributes = {
  .name = "StepperQueue"
};
/* Definitions for Mutex_Stepper */
osMutexId_t Mutex_StepperHandle;
const osMutexAttr_t Mutex_Stepper_attributes = {
  .name = "Mutex_Stepper"
};
/* Definitions for Mutex_Debug */
osMutexId_t Mutex_DebugHandle;
const osMutexAttr_t Mutex_Debug_attributes = {
  .name = "Mutex_Debug",
  .attr_bits = osMutexPrioInherit
};
/* Definitions for Sem_BtRx */
osSemaphoreId_t Sem_BtRxHandle;
const osSemaphoreAttr_t Sem_BtRx_attributes = {
  .name = "Sem_BtRx"
};
/* Definitions for Sem_SensorRx */
osSemaphoreId_t Sem_SensorRxHandle;
const osSemaphoreAttr_t Sem_SensorRx_attributes = {
  .name = "Sem_SensorRx"
};

void StartCommTask(void *argument);
void StartChassisTask(void *argument);
void StartStepperTask(void *argument);
void StartAutoClimbTask(void *argument);
void StartSensorTask(void *argument);

void MX_FREERTOS_Init(void); /* (MISRA C 2004 rule 8.1) */

void MX_FREERTOS_Init(void) {
  /* Create the mutex(es) */
  /* creation of Mutex_Stepper */
  Mutex_StepperHandle = osMutexNew(&Mutex_Stepper_attributes);

  /* creation of Mutex_Debug */
  Mutex_DebugHandle = osMutexNew(&Mutex_Debug_attributes);

  /* Create the semaphores(s) */
  /* creation of Sem_BtRx */
  Sem_BtRxHandle = osSemaphoreNew(1, 0, &Sem_BtRx_attributes);

  /* creation of Sem_SensorRx */
  Sem_SensorRxHandle = osSemaphoreNew(1, 0, &Sem_SensorRx_attributes);

  /* Create the queue(s) */
  /* creation of ChassisQueue */
  ChassisQueueHandle = osMessageQueueNew (4, 12, &ChassisQueue_attributes);

  /* creation of StepperQueue */
  StepperQueueHandle = osMessageQueueNew (4, 4, &StepperQueue_attributes);

  /* Create the thread(s) */
  /* creation of CommTask */
  CommTaskHandle = osThreadNew(StartCommTask, NULL, &CommTask_attributes);

  /* creation of ChassisTask */
  ChassisTaskHandle = osThreadNew(StartChassisTask, NULL, &ChassisTask_attributes);

  /* creation of StepperTask */
  StepperTaskHandle = osThreadNew(StartStepperTask, NULL, &StepperTask_attributes);

  /* creation of AutoClimbTask */
  AutoClimbTaskHandle = osThreadNew(StartAutoClimbTask, NULL, &AutoClimbTask_attributes);

  /* creation of SensorTask */
  SensorTaskHandle = osThreadNew(StartSensorTask, NULL, &SensorTask_attributes);

}

void StartCommTask(void *argument)
{
  /* USER CODE BEGIN StartCommTask */
  extern int robot_mode;
  extern uint32_t last_bt_heartbeat;   // 引用 main.c 里的看门狗时间戳
  static bool is_bt_connected = false; // 记录当前蓝牙连接状态

  osThreadSuspend(AutoClimbTaskHandle);
  printf("[RTOS] Scheduler started; Bluetooth control is ready.\r\n");

  for(;;)
  {
      if (osSemaphoreAcquire(Sem_BtRxHandle, 500) == osOK)
      {
          // ==========================================
          // 收到数据，喂狗！
          // ==========================================
          last_bt_heartbeat = HAL_GetTick();

          if (is_bt_connected == false) {
              is_bt_connected = true;
              printf("📱 [蓝牙状态] 蓝牙已连接成功！\r\n");
          }

					// === 解析自动指令 ===
          if (strstr((char *)bt_rx_buf, "AUTO"))
          {
              robot_mode = 1;
              printf("🤖 收到切换自动模式指令! 准备爬楼...\r\n");

              // 🌟 终极防线：强制刹停手动模式下的电机，等待电磁尖峰消散！
              // 彻底隔绝“手动切自动”带来的瞬间反电动势冲击！
              extern void Motor_Contro2(int,int,int,int);
              Motor_Contro2(0, 0, 0, 0);
              osDelay(500);

              // 🌟 核心修复 1：清空缓存，防止无限死循环触发 AUTO
              memset(bt_rx_buf, 0, 64);
              // 🌟 核心修复 2：重置看门狗时间，防止刚才的 Delay 消耗了时间
              last_bt_heartbeat = HAL_GetTick();

              osThreadResume(AutoClimbTaskHandle);
          }

          // === 解析摇杆数据 ===
          else if (strstr((char *)bt_rx_buf, "X:"))
          {
              int cmd_x = 0, cmd_y = 0, cmd_w = 0, cmd_z = 0;
              char *p;

              if ((p = strstr((char *)bt_rx_buf, "X:")) != NULL) cmd_x = atoi(p + 2);
              if ((p = strstr((char *)bt_rx_buf, "Y:")) != NULL) cmd_y = atoi(p + 2);
              if ((p = strstr((char *)bt_rx_buf, "W:")) != NULL) cmd_w = atoi(p + 2);
              if ((p = strstr((char *)bt_rx_buf, "Z:")) != NULL) cmd_z = atoi(p + 2);

							// 自动模式下检测到人为干预，强行打断
              if (robot_mode == 1) {
                  // 🌟 核心修复：大幅度拨动摇杆，或者收到全 0 的刹车指令（比如按了返回键），统统打断！
                  if (abs(cmd_x) > 20 || abs(cmd_y) > 20 || abs(cmd_z) > 20 ||
                     (cmd_x == 0 && cmd_y == 0 && cmd_w == 0 && cmd_z == 0))
                  {
                      printf("🛑 紧急打断：收到接管或返回指令，退出自动模式！\r\n");
                      osThreadSuspend(AutoClimbTaskHandle);
                      STOP_SWEEPER(); // 🌟 加在这里！紧急关闭扫地机构！
                      extern void Motor_Contro2(int,int,int,int);
                      Motor_Contro2(0, 0, 0, 0); // 履带急刹车
                      Emm_V5_Stop_Now(1, false); // 步进急刹车

                      int stop_z = 0;
                      osMessageQueuePut(StepperQueueHandle, &stop_z, 0, 0);
                      robot_mode = 0;
                  }
              }

              if (robot_mode == 0) {
                  osThreadResume(ChassisTaskHandle);
                  osThreadResume(StepperTaskHandle);

									// 🌟🌟🌟 新增：手动模式下扫地机构的动态联动控制 🌟🌟🌟
                  // 摇杆死区阈值：底盘(10)，步进电机(20)
                  if (abs(cmd_z) > 20) {
                      // 1. 如果正在操作步进电机（Z轴有动作），优先强制关闭扫地机构
                      STOP_SWEEPER();
                  }
                  else if (abs(cmd_x) > 10 || abs(cmd_y) > 10 || abs(cmd_w) > 10) {
                      // 2. 如果步进没动，且底盘摇杆有动作（无论是左右Y、前后X还是旋转W），开启扫地机构

                  }
                  else {
                      // 3. 如果摇杆全部居中（全车静止），关闭扫地机构
                      STOP_SWEEPER();
                  }
                  // 🌟🌟🌟 新增结束 🌟🌟🌟

                  ChassisMsg_t msg = {cmd_x, cmd_y, cmd_w};
                  osMessageQueuePut(ChassisQueueHandle, &msg, 0, 0);
                  osMessageQueuePut(StepperQueueHandle, &cmd_z, 0, 0);
              }
          }
      }
			else
      {
          // ==========================================
          // 500ms 没收到有效数据，开始检查是否超时断连
          // ==========================================
          if (is_bt_connected == true && robot_mode == 0 && (HAL_GetTick() - last_bt_heartbeat > 1000))
          {
              is_bt_connected = false;
              printf("❌ [蓝牙卫士] 信号丢失超过 1 秒，判定为断连！执行全车紧急刹车！\r\n");

              // 1. 紧急切断外围机构
              STOP_SWEEPER();

              // 2. 履带/麦轮底盘物理急刹
              extern void Motor_Contro2(int,int,int,int);
              Motor_Contro2(0, 0, 0, 0);

              // 3. 步进电机锁轴抱死
              Emm_V5_Stop_Now(1, false);
              int stop_z = 0;
              osMessageQueuePut(StepperQueueHandle, &stop_z, 0, 0);

              // 4. 如果正在自动爬楼，立刻挂起任务并切回手动模式！
              if (robot_mode == 1) {
                  osThreadSuspend(AutoClimbTaskHandle);
                  robot_mode = 0;
                  printf("⚠️ 已强制打断自动爬楼任务！\r\n");
              }

              // 5. 🌟 终极防死锁：暴力重启蓝牙 UART4 接收链路
              // 很多时候连不上是因为底层的 ORE (溢出错误) 把串口卡死了
              extern UART_HandleTypeDef huart4;
              HAL_UART_AbortReceive(&huart4);
              __HAL_UART_CLEAR_OREFLAG(&huart4);
              __HAL_UART_CLEAR_NEFLAG(&huart4);
              __HAL_UART_CLEAR_FEFLAG(&huart4);
              HAL_UARTEx_ReceiveToIdle_IT(&huart4, (uint8_t *)bt_rx_buf, 64);
          }
      }
		osDelay(1U);
  }
  /* USER CODE END StartCommTask */
}

void StartChassisTask(void *argument)
{
  /* USER CODE BEGIN StartChassisTask */
  ChassisMsg_t rx_msg;
  rx_msg.x = 0; rx_msg.y = 0; rx_msg.w = 0;

  // 🌟 你的截图里引入的 PID 变量
  extern float target_rpm_m1, target_rpm_m2, target_rpm_m3, target_rpm_m4;
  extern float actual_rpm_m1, actual_rpm_m2, actual_rpm_m3, actual_rpm_m4;

  const float CHASSIS_SPEED_SCALE = 0.3f;
  uint32_t last_print_time = 0;

  // 🌟 纠偏专用的魔法变量
  float target_yaw = 0.0f;
  bool is_yaw_locked = false;
  //float Kp_yaw = -1.0f;           // 如果车子左右摆动太厉害，改小至 1.0f
	float Kp_yaw = 0.0f;
  for(;;)
  {
      // 1. 疯狂处理环形缓冲区里的数据包
      extern void IMU_UART_Process(void);
      IMU_UART_Process();

      // 2. 拿到最新鲜的车头角度
      extern float IMU_Get_Yaw(void);
      float current_yaw = IMU_Get_Yaw();

      // 降频打印，防止串口阻塞
      if (HAL_GetTick() - last_print_time > 500) {
          //printf("【IMU】Yaw: %.2f | RPM_M1: %.1f\r\n", current_yaw, actual_rpm_m1);
          last_print_time = HAL_GetTick();
      }

      if (osMessageQueueGet(ChassisQueueHandle, &rx_msg, NULL, 5) == osOK)
      {
          int target_x = (int)(rx_msg.x * CHASSIS_SPEED_SCALE);
          int target_y = (int)(rx_msg.y * CHASSIS_SPEED_SCALE);
          int target_w = (int)(rx_msg.w * CHASSIS_SPEED_SCALE);

          // ==========================================================
          // 🌟 核心魔法：底盘平移闭环纠偏逻辑
          // ==========================================================
          if (target_x != 0 || target_y != 0)
          {
              if (target_w == 0)
              {
                  if (!is_yaw_locked) {
                      target_yaw = current_yaw;
                      is_yaw_locked = true;
                  }

                  float yaw_error = target_yaw - current_yaw;

                  if (yaw_error > 180.0f) yaw_error -= 360.0f;
                  if (yaw_error < -180.0f) yaw_error += 360.0f;

                  int comp_w = (int)(Kp_yaw * yaw_error);

                  if (comp_w > 40) comp_w = 40;
                  if (comp_w < -40) comp_w = -40;

                  target_w += comp_w;
              }
              else {
                  is_yaw_locked = false;
              }
          }
          else {
              is_yaw_locked = false;
          }

          // 把处理好的指令发给底层电机驱动
          Move_Mecanum(target_x, target_y, target_w);
      }
      osDelay(5);
  }
  /* USER CODE END StartChassisTask */
}

void StartStepperTask(void *argument)
{
  /* USER CODE BEGIN StartStepperTask */
  int target_z = 0;
  int last_sent_z = 0;
  bool is_stepper_stopped = true;
  extern int robot_mode;

  uint32_t last_uart_send_time = 0;
  uint32_t last_print_time = 0; // 🌟 打印频率控制器
	uint32_t last_ultra_trig_time = 0; // 🌟 新增：超声波触发限速器

  #define MOTOR_MIN_LIMIT    -80000
  #define MOTOR_MAX_LIMIT    2180000

  for(;;)
  {
      osMessageQueueGet(StepperQueueHandle, &target_z, NULL, 20);

      osMutexAcquire(Mutex_StepperHandle, osWaitForever);

      // === 摇杆【向上】推 ===
      if (target_z > 20)
      {
          // 🌟 引入容差区间 (-200)，只要进入这个范围就认为触顶，防止反复横跳
          if (step_motor_pos >= (MOTOR_MAX_LIMIT - 200)) {
              if (!is_stepper_stopped) {
                  printf("⚠️ 触顶拦截！切换履带驱动！\r\n");
                  Emm_V5_Stop_Now(1, false);
                  is_stepper_stopped = true;
                  last_sent_z = 0; // 重置记忆变量，让下方的履带限频逻辑能立即触发一次
              }

              if (robot_mode == 0) {
                  // 🌟 修复 1：调整摇杆乘积，并加入强制最高限幅，防止溢出变负数
                  int crawler_speed = target_z * 250; // 如果 target_z 最大是 100，这里大概是 10000
                  if (crawler_speed > 15000) crawler_speed = 15000; // 封死上限

                  // 🌟 修复 3：为履带控制也套上“限频保护壳”，避免串口发死机
                  if (abs(target_z - last_sent_z) > 5 || (HAL_GetTick() - last_uart_send_time > 200))
                  {
                      Motor_Contro2(crawler_speed, crawler_speed, crawler_speed, crawler_speed);
                      last_sent_z = target_z;
                      last_uart_send_time = HAL_GetTick();
                  }

                  // --- 下面保留你原本的超声波雷达探测打印逻辑 ---
                  if (HAL_GetTick() - last_ultra_trig_time > 100) {
                      uint8_t trig_cmd[1] = {0xA0};
                      extern UART_HandleTypeDef huart5;
                      HAL_UART_Transmit(&huart5, trig_cmd, 1, 50);
                      last_ultra_trig_time = HAL_GetTick();
                  }
                  if (HAL_GetTick() - last_print_time > 500) {
                      extern int Ultrasonic_Get_Distance(void);
                      int dist = Ultrasonic_Get_Distance();
                      printf("🎮 [履带手动前进] 超声波前方实时距离: %d mm\r\n", dist);
                      last_print_time = HAL_GetTick();
                  }
              }
          }
          else {
              // 🌟 仅当真正离开顶部容差区间时，才刹停履带，避免误杀
              if (robot_mode == 0 && is_stepper_stopped) {
                  Motor_Contro2(0, 0, 0, 0);
              }

              if (is_stepper_stopped || abs(target_z - last_sent_z) > 5 || (HAL_GetTick() - last_uart_send_time > 200))
              {
                  if (HAL_GetTick() - last_print_time > 500) {
                      printf("🎮 [手动控制] 向上移动, Z=%d, 实时位置: %ld\r\n", target_z, step_motor_pos);
                      last_print_time = HAL_GetTick();
                  }

                  Emm_V5_Vel_Control(1, 0, target_z * 3, 50, false);
                  is_stepper_stopped = false;
                  last_sent_z = target_z;
                  last_uart_send_time = HAL_GetTick();
              }
          }
      }
      // === 摇杆【向下】推 ===
      else if (target_z < -20)
      {
          if (robot_mode == 0) Motor_Contro2(0, 0, 0, 0);

          if (step_motor_pos <= MOTOR_MIN_LIMIT) {
              if (!is_stepper_stopped) {
                  printf("⛔ 触底拦截！已在最低点 0，禁止下降！\r\n");
                  Emm_V5_Stop_Now(1, false);
                  is_stepper_stopped = true;
                  last_sent_z = 0;
              }
          }
          else {
              if (is_stepper_stopped || abs(target_z - last_sent_z) > 5 || (HAL_GetTick() - last_uart_send_time > 200))
              {
                  // 1. 播报实时位置
                  if (HAL_GetTick() - last_print_time > 500) {
                      printf("🎮 [手动控制] 向下移动, Z=%d, 实时位置: %ld\r\n", target_z, step_motor_pos);
                      last_print_time = HAL_GetTick();
                  }

                  // 2. 🚨 核心动作：真·油门指令！
                  Emm_V5_Vel_Control(1, 1, (-target_z) * 3, 50, false);
                  is_stepper_stopped = false;
                  last_sent_z = target_z;
                  last_uart_send_time = HAL_GetTick();
              }
          }
      }
      // === 松开摇杆居中 ===
      else
      {
          if (!is_stepper_stopped) {
              Emm_V5_Stop_Now(1, false);
              is_stepper_stopped = true;
              last_sent_z = 0;
          }
          if (robot_mode == 0) Motor_Contro2(0, 0, 0, 0);
      }

      osMutexRelease(Mutex_StepperHandle);
  }
  /* USER CODE END StartStepperTask */
}

void StartAutoClimbTask(void *argument)
{
  /* USER CODE BEGIN StartAutoClimbTask */
  /* Infinite loop */
  for(;;)
  {
		AutoClimb_Process();
    osDelay(1);
  }
  /* USER CODE END StartAutoClimbTask */
}

void StartSensorTask(void *argument)
{
  /* USER CODE BEGIN StartSensorTask */
  uint32_t last_send_time = 0;
  extern void Compress_And_Send_Lidar_Data(void);
  extern uint16_t Lidar_Get_Min_Distance_In_Range(uint16_t start_angle, uint16_t end_angle);

  extern int left_min;
  extern int right_min;
  extern int front_min;

  /* Lidar is deliberately started after the scheduler. A noisy or faulty
     lidar must never prevent Bluetooth and the safety tasks from starting. */
  osDelay(10U);
  Lidar_Init();

  for(;;)
  {
      // 🌟 核心修复 1：将 osWaitForever 改为 500！500ms 没收到数据说明雷达死了！
      if (osSemaphoreAcquire(Sem_SensorRxHandle, 500) == osOK)
      {
          // === 雷达解包核心逻辑 ===
          while (Lidar_ReadIndex != Lidar_WriteIndex)
          {
              if(Lidar_RxBuf[Lidar_ReadIndex] == 0xA5)
              {
                  uint16_t next_index = (Lidar_ReadIndex + 1) % 640;
                  if(Lidar_RxBuf[next_index] == 0x5A)
                  {
                      uint16_t available_data;
                      if(Lidar_WriteIndex >= Lidar_ReadIndex) {
                          available_data = Lidar_WriteIndex - Lidar_ReadIndex;
                      } else {
                          available_data = 640 - Lidar_ReadIndex + Lidar_WriteIndex;
                      }

                      if(available_data >= 58)
                      {
                          uint8_t single_frame[58];
                          for(int i = 0; i < 58; i++) {
                              single_frame[i] = Lidar_RxBuf[(Lidar_ReadIndex + i) % 640];
                          }
                          Lidar_ParseSingleFrame(single_frame);
                          Lidar_ReadIndex = (Lidar_ReadIndex + 58) % 640;
                          continue;
                      }
                      else { break; }
                  }
              }
              Lidar_ReadIndex = (Lidar_ReadIndex + 1) % 640;
          }

          // === 计算距离 ===
          front_min = Lidar_Get_Min_Distance_In_Range(350, 10);
          left_min  = Lidar_Get_Min_Distance_In_Range(250, 290);
          right_min = Lidar_Get_Min_Distance_In_Range(80, 100);

          extern int robot_mode;
          if (robot_mode == 1 && (HAL_GetTick() - last_send_time > 100))
          {
              Compress_And_Send_Lidar_Data();
              last_send_time = HAL_GetTick();
          }
      }
      else
      {
          // 🌟 核心修复 2：超时触发！强制打断卡死的串口，重新唤醒雷达 DMA 通道！
          printf("🚨 [警告] 雷达数据停更超时，尝试强行重启 DMA 通道！\r\n");
          HAL_StatusTypeDef lidar_status = Lidar_RestartDMA();
          if (lidar_status == HAL_OK)
          {
              printf("✅ 雷达 DMA 通道重启成功！\r\n");
          }
          else
          {
              printf("🚨 雷达 DMA 通道重启失败，错误码: %d\r\n", lidar_status);
          }
      }
  }
  /* USER CODE END StartSensorTask */
}

/* USER CODE BEGIN Application */

// 🌟 终极版：HAL库官方错误回调函数（专治一切电磁干扰导致的死锁）
void HAL_UART_ErrorCallback(UART_HandleTypeDef *huart)
{
    if (huart->Instance == USART3)
    {
        __HAL_UART_CLEAR_OREFLAG(huart);
        __HAL_UART_CLEAR_FEFLAG(huart);
        __HAL_UART_CLEAR_NEFLAG(huart);
        __HAL_UART_CLEAR_PEFLAG(huart);

        extern uint8_t rxCmd[];
        HAL_UARTEx_ReceiveToIdle_IT(&huart3, rxCmd, 128);
    }
    else if (huart->Instance == UART5)
    {
        (void)Ultrasonic_UART_Restart();
    }
    // 👇 新增：给蓝牙(UART4)也颁发“不死金牌”！防止任何开机乱码导致死锁！
    else if (huart->Instance == UART4)
    {
        __HAL_UART_CLEAR_OREFLAG(huart);
        __HAL_UART_CLEAR_FEFLAG(huart);
        __HAL_UART_CLEAR_NEFLAG(huart);
        __HAL_UART_CLEAR_PEFLAG(huart);

        extern uint8_t bt_rx_buf[];
        HAL_UARTEx_ReceiveToIdle_IT(&huart4, bt_rx_buf, 64);
    }
		// 👇 新增：给雷达 (USART2) 颁发不死金牌
		else if (huart->Instance == USART2)
    {
        __HAL_UART_CLEAR_OREFLAG(huart);
        __HAL_UART_CLEAR_FEFLAG(huart);
        __HAL_UART_CLEAR_NEFLAG(huart);
        __HAL_UART_CLEAR_PEFLAG(huart);
        // 阻塞型串口错误会终止 DMA；SensorTask 超时后统一调用 Lidar_RestartDMA()。
    }
}

/* USER CODE END Application */
